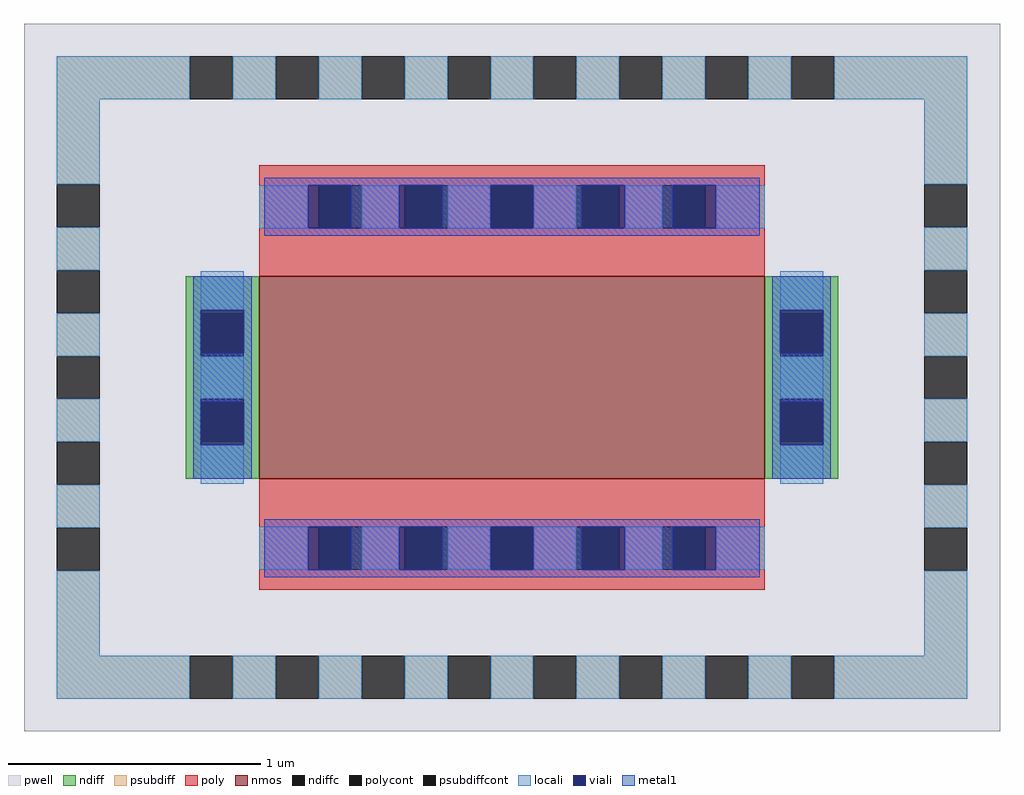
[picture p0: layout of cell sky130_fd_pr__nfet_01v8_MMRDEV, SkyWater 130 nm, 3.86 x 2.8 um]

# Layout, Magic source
magic
tech sky130A
magscale 1 2
<< pwell >>
rect -386 -280 386 280
<< nmos >>
rect -200 -80 200 80
<< ndiff >>
rect -258 51 -200 80
rect -258 17 -246 51
rect -212 17 -200 51
rect -258 -17 -200 17
rect -258 -51 -246 -17
rect -212 -51 -200 -17
rect -258 -80 -200 -51
rect 200 51 258 80
rect 200 17 212 51
rect 246 17 258 51
rect 200 -17 258 17
rect 200 -51 212 -17
rect 246 -51 258 -17
rect 200 -80 258 -51
<< ndiffc >>
rect -246 17 -212 51
rect -246 -51 -212 -17
rect 212 17 246 51
rect 212 -51 246 -17
<< psubdiff >>
rect -360 220 -255 254
rect -221 220 -187 254
rect -153 220 -119 254
rect -85 220 -51 254
rect -17 220 17 254
rect 51 220 85 254
rect 119 220 153 254
rect 187 220 221 254
rect 255 220 360 254
rect -360 153 -326 220
rect -360 85 -326 119
rect 326 153 360 220
rect 326 85 360 119
rect -360 17 -326 51
rect -360 -51 -326 -17
rect 326 17 360 51
rect 326 -51 360 -17
rect -360 -119 -326 -85
rect -360 -220 -326 -153
rect 326 -119 360 -85
rect 326 -220 360 -153
rect -360 -254 -255 -220
rect -221 -254 -187 -220
rect -153 -254 -119 -220
rect -85 -254 -51 -220
rect -17 -254 17 -220
rect 51 -254 85 -220
rect 119 -254 153 -220
rect 187 -254 221 -220
rect 255 -254 360 -220
<< psubdiffcont >>
rect -255 220 -221 254
rect -187 220 -153 254
rect -119 220 -85 254
rect -51 220 -17 254
rect 17 220 51 254
rect 85 220 119 254
rect 153 220 187 254
rect 221 220 255 254
rect -360 119 -326 153
rect -360 51 -326 85
rect 326 119 360 153
rect -360 -17 -326 17
rect -360 -85 -326 -51
rect 326 51 360 85
rect 326 -17 360 17
rect -360 -153 -326 -119
rect 326 -85 360 -51
rect 326 -153 360 -119
rect -255 -254 -221 -220
rect -187 -254 -153 -220
rect -119 -254 -85 -220
rect -51 -254 -17 -220
rect 17 -254 51 -220
rect 85 -254 119 -220
rect 153 -254 187 -220
rect 221 -254 255 -220
<< poly >>
rect -200 152 200 168
rect -200 118 -153 152
rect -119 118 -85 152
rect -51 118 -17 152
rect 17 118 51 152
rect 85 118 119 152
rect 153 118 200 152
rect -200 80 200 118
rect -200 -118 200 -80
rect -200 -152 -153 -118
rect -119 -152 -85 -118
rect -51 -152 -17 -118
rect 17 -152 51 -118
rect 85 -152 119 -118
rect 153 -152 200 -118
rect -200 -168 200 -152
<< polycont >>
rect -153 118 -119 152
rect -85 118 -51 152
rect -17 118 17 152
rect 51 118 85 152
rect 119 118 153 152
rect -153 -152 -119 -118
rect -85 -152 -51 -118
rect -17 -152 17 -118
rect 51 -152 85 -118
rect 119 -152 153 -118
<< locali >>
rect -360 220 -255 254
rect -221 220 -187 254
rect -153 220 -119 254
rect -85 220 -51 254
rect -17 220 17 254
rect 51 220 85 254
rect 119 220 153 254
rect 187 220 221 254
rect 255 220 360 254
rect -360 153 -326 220
rect 326 153 360 220
rect -360 85 -326 119
rect -200 118 -161 152
rect -119 118 -89 152
rect -51 118 -17 152
rect 17 118 51 152
rect 89 118 119 152
rect 161 118 200 152
rect 326 85 360 119
rect -360 17 -326 51
rect -360 -51 -326 -17
rect -246 53 -212 84
rect -246 -17 -212 17
rect -246 -84 -212 -53
rect 212 53 246 84
rect 212 -17 246 17
rect 212 -84 246 -53
rect 326 17 360 51
rect 326 -51 360 -17
rect -360 -119 -326 -85
rect -200 -152 -161 -118
rect -119 -152 -89 -118
rect -51 -152 -17 -118
rect 17 -152 51 -118
rect 89 -152 119 -118
rect 161 -152 200 -118
rect 326 -119 360 -85
rect -360 -220 -326 -153
rect 326 -220 360 -153
rect -360 -254 -255 -220
rect -221 -254 -187 -220
rect -153 -254 -119 -220
rect -85 -254 -51 -220
rect -17 -254 17 -220
rect 51 -254 85 -220
rect 119 -254 153 -220
rect 187 -254 221 -220
rect 255 -254 360 -220
<< viali >>
rect -161 118 -153 152
rect -153 118 -127 152
rect -89 118 -85 152
rect -85 118 -55 152
rect -17 118 17 152
rect 55 118 85 152
rect 85 118 89 152
rect 127 118 153 152
rect 153 118 161 152
rect -246 51 -212 53
rect -246 19 -212 51
rect -246 -51 -212 -19
rect -246 -53 -212 -51
rect 212 51 246 53
rect 212 19 246 51
rect 212 -51 246 -19
rect 212 -53 246 -51
rect -161 -152 -153 -118
rect -153 -152 -127 -118
rect -89 -152 -85 -118
rect -85 -152 -55 -118
rect -17 -152 17 -118
rect 55 -152 85 -118
rect 85 -152 89 -118
rect 127 -152 153 -118
rect 153 -152 161 -118
<< metal1 >>
rect -196 152 196 158
rect -196 118 -161 152
rect -127 118 -89 152
rect -55 118 -17 152
rect 17 118 55 152
rect 89 118 127 152
rect 161 118 196 152
rect -196 112 196 118
rect -252 53 -206 80
rect -252 19 -246 53
rect -212 19 -206 53
rect -252 -19 -206 19
rect -252 -53 -246 -19
rect -212 -53 -206 -19
rect -252 -80 -206 -53
rect 206 53 252 80
rect 206 19 212 53
rect 246 19 252 53
rect 206 -19 252 19
rect 206 -53 212 -19
rect 246 -53 252 -19
rect 206 -80 252 -53
rect -196 -118 196 -112
rect -196 -152 -161 -118
rect -127 -152 -89 -118
rect -55 -152 -17 -118
rect 17 -152 55 -118
rect 89 -152 127 -118
rect 161 -152 196 -118
rect -196 -158 196 -152
<< properties >>
string FIXED_BBOX -342 -236 342 236
<< end >>
